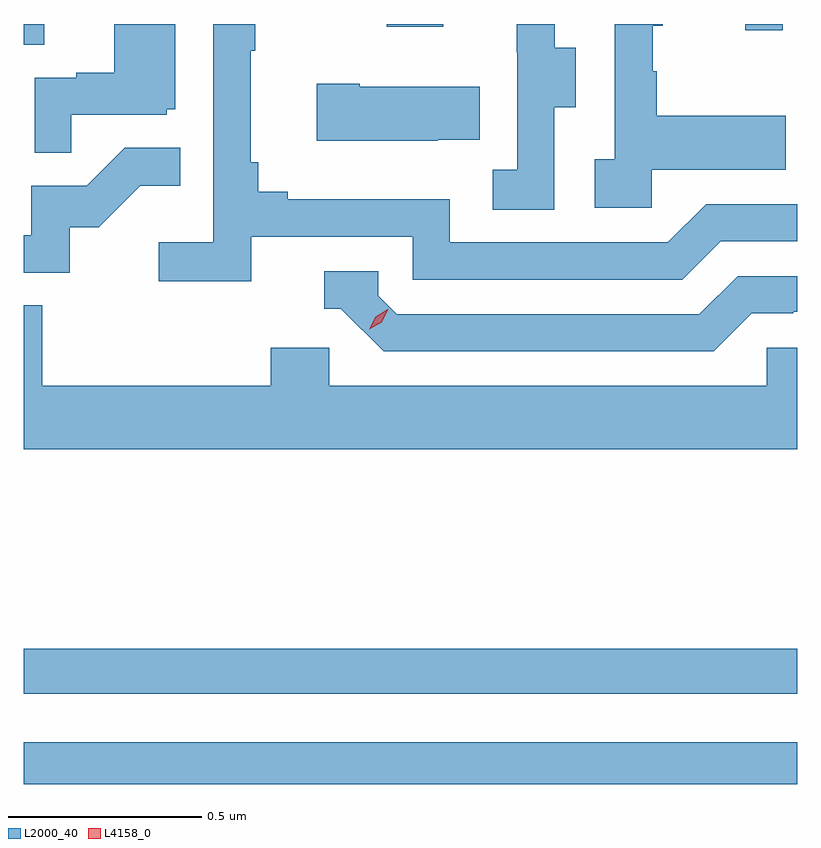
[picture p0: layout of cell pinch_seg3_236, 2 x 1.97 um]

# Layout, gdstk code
import gdstk
lib = gdstk.Library(unit=1e-6, precision=1e-09)
def R(c, l, rs):  # rectangles x0, y0, x1, y1
    for r in rs: c.add(gdstk.rectangle(r[:2], r[2:], *l))
def P(c, l, *ps):  # polygons
    for p in ps: c.add(gdstk.Polygon(p, *l))
L2000_40 = (2000, 40)
L4158_0 = (4158, 0)

pinch_seg3_236 = lib.new_cell('pinch_seg3_236')
R(pinch_seg3_236, L2000_40, [(921.02,740.01,923.02,740.118), (921.02,740.244,923.02,740.36), (921.02,741.922,921.073,741.976), (922.886,741.96,922.983,741.976), (921.958,741.969,922.105,741.976)])
P(pinch_seg3_236, L2000_40, [(921.143,741.741),(921.39,741.741),(921.39,741.756),(921.412,741.756),(921.412,741.976),(921.254,741.976),(921.254,741.85),(921.155,741.85),(921.155,741.837),(921.048,741.837),(921.048,741.643),(921.143,741.643)],
  [(922.392,741.76),(922.447,741.76),(922.447,741.915),(922.393,741.915),(922.393,741.976),(922.295,741.976),(922.295,741.903),(922.296,741.903),(922.296,741.599),(922.233,741.599),(922.233,741.496),(922.392,741.496)],
  [(922.644,741.599),(922.991,741.599),(922.991,741.739),(922.657,741.739),(922.657,741.854),(922.647,741.854),(922.647,741.972),(922.672,741.972),(922.672,741.976),(922.548,741.976),(922.548,741.626),(922.497,741.626),(922.497,741.501),(922.644,741.501)],
  [(921.608,741.426),(922.026,741.426),(922.026,741.315),(922.723,741.315),(922.822,741.414),(923.02,741.414),(923.02,741.51),(922.785,741.51),(922.686,741.411),(922.122,741.411),(922.122,741.523),(921.703,741.523),(921.703,741.542),(921.626,741.542),(921.626,741.619),(921.607,741.619),(921.607,741.907),(921.619,741.907),(921.619,741.976),(921.51,741.976),(921.51,741.412),(921.369,741.412),(921.369,741.31),(921.608,741.31)],
  [(922.091,741.677),(922.199,741.677),(922.199,741.814),(921.889,741.814),(921.889,741.822),(921.777,741.822),(921.777,741.674),(922.091,741.674)],
  [(921.138,741.45),(921.214,741.45),(921.321,741.557),(921.425,741.557),(921.425,741.656),(921.281,741.656),(921.183,741.558),(921.039,741.558),(921.039,741.429),(921.02,741.429),(921.02,741.333),(921.138,741.333)],
  [(922.903,741.228),(923.01,741.228),(923.01,741.231),(923.02,741.231),(923.02,741.324),(922.866,741.324),(922.767,741.225),(921.984,741.225),(921.936,741.273),(921.936,741.336),(921.797,741.336),(921.797,741.24),(921.84,741.24),(921.951,741.129),(922.804,741.129)],
  [(923.02,741.138),(922.941,741.138),(922.941,741.04),(921.81,741.04),(921.81,741.138),(921.659,741.138),(921.659,741.04),(921.068,741.04),(921.068,741.248),(921.02,741.248),(921.02,740.876),(923.02,740.876)])
P(pinch_seg3_236, L4158_0, [(921.913,741.186),(921.913,741.186),(921.93,741.219),(921.961,741.238),(921.962,741.238),(921.962,741.238),(921.945,741.205),(921.913,741.186)])

lib.write_gds('pinch_seg3_236.gds')
